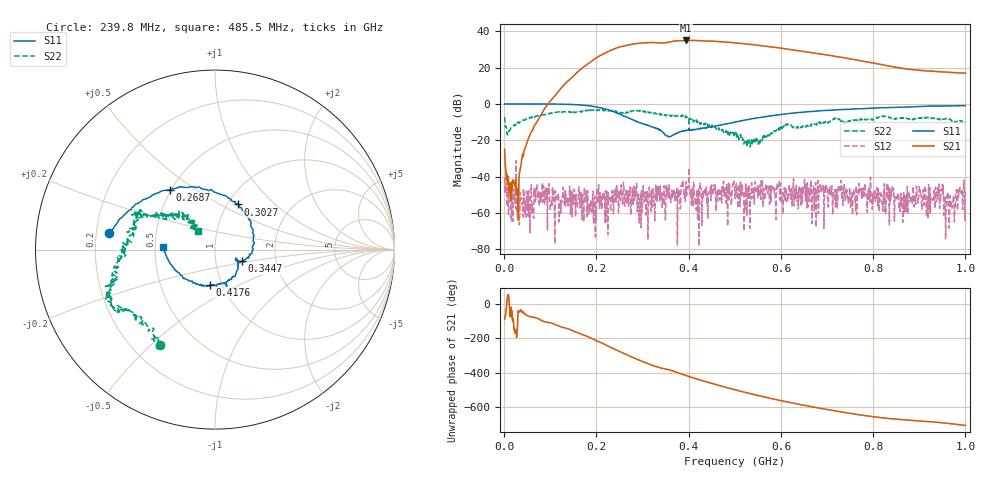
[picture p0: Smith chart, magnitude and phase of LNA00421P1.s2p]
! Created with skrf 1.9.0 (http://scikit-rf.org).
# Hz S RI R 50.0
!freq ReS11 ImS11 ReS21 ImS21 ReS12 ImS12 ReS22 ImS22
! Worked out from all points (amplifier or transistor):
!   1001 points, 1 MHz to 1 GHz, reference 50 ohm
!   highest |S21| = 34.9 dB at 394.6 MHz (marker M1)
!   |S21| within 3 dB of that: 260.2 MHz to 562.8 MHz (302.6 MHz wide, 73.5 % of centre)
!   unconditionally stable (mu >= 1): 205.7 MHz to 241.7 MHz; 287 MHz to 400.2 MHz; 401 MHz to end of sweep (the widest 3 of 38)
!   at 166.8 MHz: K = 2.19, MAG = 30.6 dB, |S12| = -54.4 dB
!   at 500.5 MHz: K = 3.75, MAG = 34.2 dB, |S12| = -52.1 dB
!   at 1 GHz: K = 3.17, MAG = 24.7 dB, |S12| = -48.3 dB
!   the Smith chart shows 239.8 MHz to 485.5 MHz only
!   S11 on the Smith chart (normalised r, x): 239.8 MHz: 0.25, +0.07; 268.7 MHz: 0.49, +0.40; 302.7 MHz: 1.12, +0.61; 344.7 MHz: 1.34, -0.18; 417.6 MHz: 0.87, -0.36; 485.5 MHz: 0.55, +0.02
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1000000  0.9991 0.0153  0.00248 -0.0561  0.00654 0.00686  0.3343 0.2832
1.09891e8  0.5158 -0.8522  -0.7842 -1.487  6.25e-05 -0.000127  0.4558 -0.3655
1.67833e8  -0.2184 -0.9078  -9.382 -0.853  0.00161 -0.00239  0.0558 -0.6347
2.08792e8  -0.662 -0.424  -15.71 14.96  -3.44e-05 -0.00146  -0.1939 -0.656
2.39761e8  -0.5933 0.0898  -3.642 32.99  -0.0021 0.0028  -0.3083 -0.5298
2.68732e8  -0.2493 0.3339  20.57 36.35  -0.0022 -0.00346  -0.4776 -0.336
3.02698e8  0.1278 0.2518  44.12 17.7  0.00025 0.00198  -0.5804 -0.1997
3.34666e8  0.2066 -0.021  47.41 -8.143  -0.000651 0.00532  -0.5179 -0.0377
3.44656e8  0.1512 -0.0649  45.27 -13.64  -0.00104 0.00343  -0.4999 0.00427
3.68632e8  0.1252 -0.0684  44.66 -29.53  0.0042 0.000338  -0.4507 0.1676
3.94606e8  0.0842 -0.1655  29.48 -47.34  -0.0024 0.00258  -0.4106 0.1783
4.17583e8  -0.0304 -0.1985  11.7 -53.9  0.00395 0.002  -0.2543 0.1822
4.49551e8  -0.1842 -0.1472  -12.54 -51.88  0.0049 0.00339  -0.1702 0.177
4.85515e8  -0.288 0.0163  -32.13 -38.02  0.00368 -0.000371  -0.0972 0.1061
5.005e8  -0.2997 0.0996  -37.6 -30.22  0.000559 -0.00243  -0.1243 0.1095
5.4046e8  -0.2454 0.3172  -41.61 -8.756  0.000488 0.00263  -0.1011 -0.0222
5.88412e8  -0.0499 0.4883  -34.02 11.3  0.000132 -0.00198  -0.1693 -0.067
6.27373e8  0.1347 0.5463  -23.42 19.5  0.00789 -0.00369  -0.2188 -0.0854
6.67333e8  0.3263 0.5298  -12.32 22.32  0.000178 -0.000478  -0.2784 -0.0154
7.51249e8  0.6197 0.371  2.996 17.09  0.000766 0.00124  -0.3335 0.1019
8.34166e8  0.783 0.1349  7.03 8.543  0.00135 0.00249  -0.373 0.2207
1e9  0.8022 -0.4092  6.933 1.175  -0.00342 0.00171  -0.0442 0.3198
